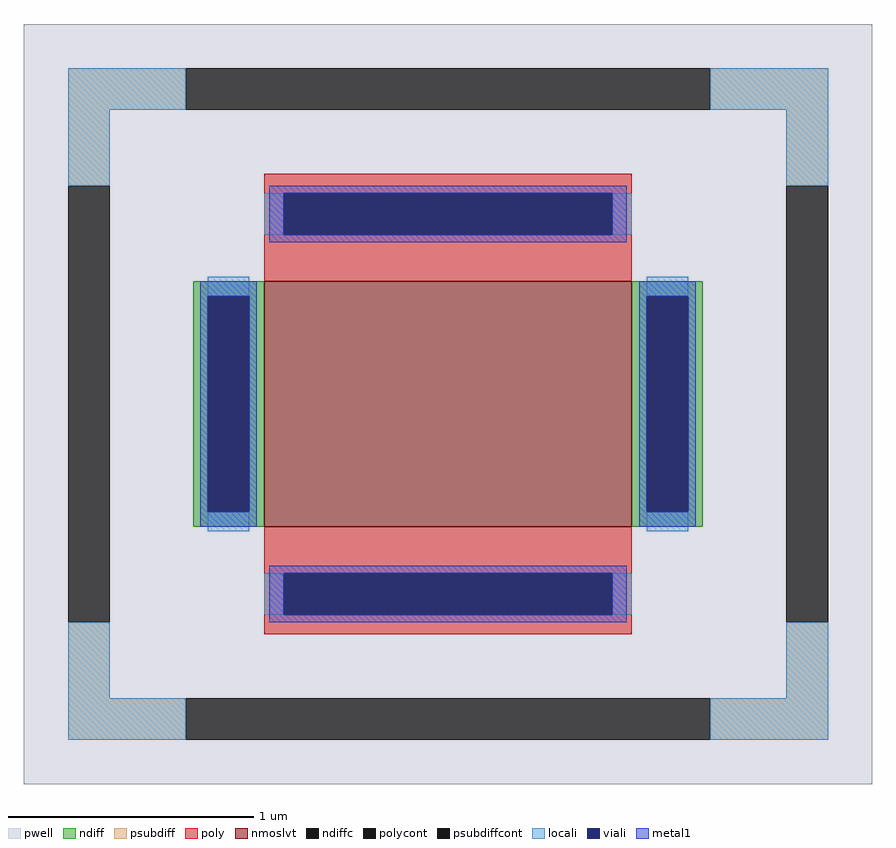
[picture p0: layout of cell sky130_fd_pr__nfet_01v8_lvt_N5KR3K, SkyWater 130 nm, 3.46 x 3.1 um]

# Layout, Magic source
magic
tech sky130A
<< pwell >>
rect -173 -155 173 155
<< nmoslvt >>
rect -75 -50 75 50
<< ndiff >>
rect -104 44 -75 50
rect -104 -44 -98 44
rect -81 -44 -75 44
rect -104 -50 -75 -44
rect 75 44 104 50
rect 75 -44 81 44
rect 98 -44 104 44
rect 75 -50 104 -44
<< ndiffc >>
rect -98 -44 -81 44
rect 81 -44 98 44
<< psubdiff >>
rect -155 120 -107 137
rect 107 120 155 137
rect -155 89 -138 120
rect 138 89 155 120
rect -155 -120 -138 -89
rect 138 -120 155 -89
rect -155 -137 -107 -120
rect 107 -137 155 -120
<< psubdiffcont >>
rect -107 120 107 137
rect -155 -89 -138 89
rect 138 -89 155 89
rect -107 -137 107 -120
<< poly >>
rect -75 86 75 94
rect -75 69 -67 86
rect 67 69 75 86
rect -75 50 75 69
rect -75 -69 75 -50
rect -75 -86 -67 -69
rect 67 -86 75 -69
rect -75 -94 75 -86
<< polycont >>
rect -67 69 67 86
rect -67 -86 67 -69
<< locali >>
rect -155 120 -107 137
rect 107 120 155 137
rect -155 89 -138 120
rect 138 89 155 120
rect -75 69 -67 86
rect 67 69 75 86
rect -98 44 -81 52
rect -98 -52 -81 -44
rect 81 44 98 52
rect 81 -52 98 -44
rect -75 -86 -67 -69
rect 67 -86 75 -69
rect -155 -120 -138 -89
rect 138 -120 155 -89
rect -155 -137 -107 -120
rect 107 -137 155 -120
<< viali >>
rect -67 69 67 86
rect -98 -44 -81 44
rect 81 -44 98 44
rect -67 -86 67 -69
<< metal1 >>
rect -73 86 73 89
rect -73 69 -67 86
rect 67 69 73 86
rect -73 66 73 69
rect -101 44 -78 50
rect -101 -44 -98 44
rect -81 -44 -78 44
rect -101 -50 -78 -44
rect 78 44 101 50
rect 78 -44 81 44
rect 98 -44 101 44
rect 78 -50 101 -44
rect -73 -69 73 -66
rect -73 -86 -67 -69
rect 67 -86 73 -69
rect -73 -89 73 -86
<< properties >>
string FIXED_BBOX -146 -128 146 128
string gencell sky130_fd_pr__nfet_01v8_lvt
string library sky130
string parameters w 1.0 l 1.5 m 1 nf 1 diffcov 100 polycov 100 guard 1 glc 1 grc 1 gtc 1 gbc 1 tbcov 100 rlcov 100 topc 1 botc 1 poverlap 0 doverlap 1 lmin 0.15 wmin 0.42 compatible {sky130_fd_pr__nfet_01v8 sky130_fd_pr__nfet_01v8_lvt  sky130_fd_bs_flash__special_sonosfet_star  sky130_fd_pr__nfet_g5v0d10v5 sky130_fd_pr__nfet_05v0_nvt  sky130_fd_pr__nfet_03v3_nvt} full_metal 1 viasrc 100 viadrn 100 viagate 100 viagb 0 viagr 0 viagl 0 viagt 0
<< end >>
